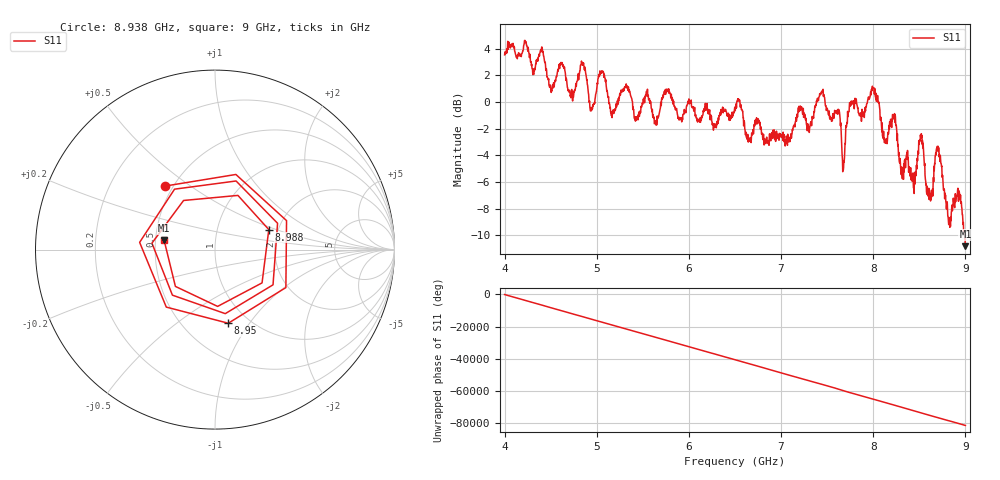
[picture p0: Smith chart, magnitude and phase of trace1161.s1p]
! Created with skrf 1.8.0 (http://scikit-rf.org).
# Hz S RI R 50.0
!freq ReS11 ImS11
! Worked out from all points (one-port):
!   1601 points, 4 GHz to 9 GHz, reference 50 ohm
!   lowest |S11| = -10.8 dB at 9 GHz (marker M1), VSWR 1.81, Z = 27.8 + j3.11 ohm
!   |S11| at or under -10 dB: 8.994114 GHz to end of sweep
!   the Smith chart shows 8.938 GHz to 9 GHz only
!   S11 on the Smith chart (normalised r, x): 8.938 GHz: 0.45, +0.40; 8.95 GHz: 0.81, -0.80; 8.988 GHz: 1.79, +0.44; 9 GHz: 0.56, +0.06
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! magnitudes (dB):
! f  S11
! 4 GHz  3.5
! 4.625 GHz  3.0
! 4.731 GHz  0.4
! 4.85 GHz  2.8
! 4.941 GHz  -0.6
! 5.047 GHz  2.2
! 5.25 GHz  0.7
! 5.875 GHz  -0.9
! 6.5 GHz  -0.6
! 6.65 GHz  -2.8
! 7.125 GHz  -2.1
! 7.444 GHz  0.7
! 7.678 GHz  -4.9
! 7.75 GHz  -0.2
! 8.006 GHz  1.1
! 8.125 GHz  -2.8
! 8.228 GHz  -1.0
! 8.303 GHz  -5.4
! 8.375 GHz  -4.2
! 8.441 GHz  -5.6
! 8.519 GHz  -2.5
! 8.622 GHz  -7.4
! 8.703 GHz  -3.3
! 8.819 GHz  -9.2
! 8.938 GHz  -6.9
! 8.95 GHz  -7.6
! 8.988 GHz  -9.9
! 9 GHz  -10.8
